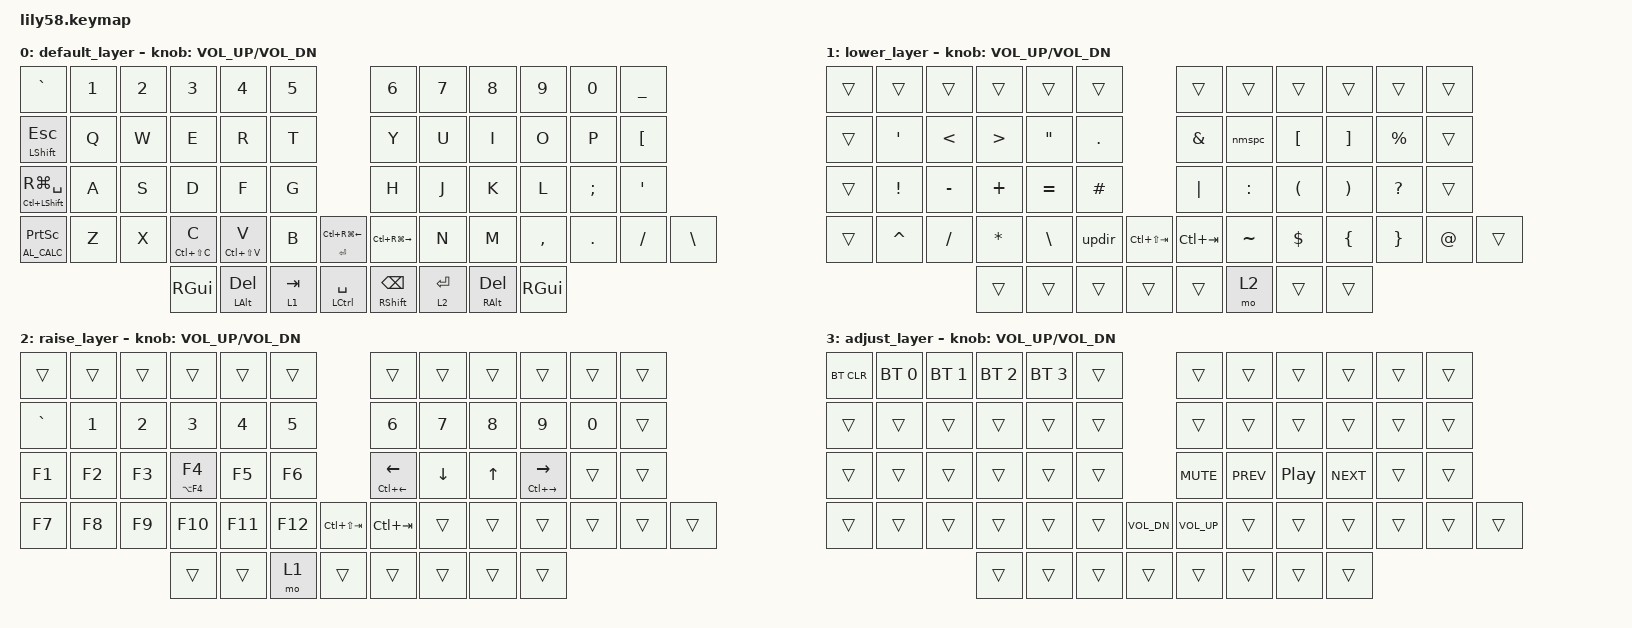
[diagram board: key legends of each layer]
/*
 * Copyright (c) 2020 The ZMK Contributors
 *
 * SPDX-License-Identifier: MIT
 */

#include <behaviors.dtsi>
#include <dt-bindings/zmk/keys.h>
#include <dt-bindings/zmk/bt.h>
#include <dt-bindings/zmk/ext_power.h>

&mt {
    quick-tap-ms = <400>;
};

/ {
    behaviors {
      tht: tap_pref_hold_tap {
        compatible = "zmk,behavior-hold-tap";
        label = "TAP_PREF_HOLD_TAP";
        #binding-cells = <2>;
	tapping-term-ms = <200>;
        quick-tap-ms = <400>;
        flavor = "tap-preferred";
        bindings = <&kp>, <&kp>;
      };
    };
    combos {
      compatible = "zmk,combos";
      combo_tab {
        timeout-ms = <50>;
	key-positions = <13 14>;
	bindings = <&kp TAB>;
      };
      combo_rbkt {
        timeout-ms = <50>;
	key-positions = <22 23>;
	bindings = <&kp RBKT>;
      };
    };

    macros {
        ZMK_MACRO(updir,
            wait-ms = <20>;
            tap-ms = <40>;
            bindings = <&kp DOT &kp DOT &kp FSLH>;
        )
        ZMK_MACRO(nmspc,
            wait-ms = <20>;
            tap-ms = <40>;
            bindings = <&kp COLON &kp COLON>;
        )
    };

    conditional_layers {
        compatible = "zmk,conditional-layers";
        tri_layer {
            if-layers = <1 2>;
            then-layer = <3>;
        };
    };

	keymap {
		compatible = "zmk,keymap";

		default_layer {
			bindings = <
&kp GRAVE &kp N1 &kp N2 &kp N3   &kp N4   &kp N5                     &kp N6 &kp N7   &kp N8    &kp N9  &kp N0   &kp UNDER
&mt LSHIFT ESC   &kp Q  &kp W  &kp E    &kp R    &kp T                      &kp Y  &kp U    &kp I     &kp O   &kp P    &kp LBKT
&mt LC(LSHIFT) RG(SPACE) &kp A  &kp S  &kp D    &kp F    &kp G                      &kp H  &kp J    &kp K     &kp L   &kp SEMI &kp SQT
&mt C_AL_CALC PSCRN &kp Z  &kp X  &tht LC(LS(C)) C    &tht LC(LS(V)) V    &kp B  &tht RET LC(RG(LEFT))   &kp LC(RG(RIGHT)) &kp N  &kp M    &kp COMMA &kp DOT &kp FSLH &kp BSLH
          &kp RGUI  &mt LALT DEL &lt 1 TAB  &mt LCTRL SPACE      &mt RSHIFT BSPC &lt 2 RET &mt RALT DEL &kp RGUI
			>;

			sensor-bindings = <&inc_dec_kp C_VOL_UP C_VOL_DN>;
		};

		lower_layer {
// ------------------------------------------------------------------------------------------------------------
// |       |     |     |      |      |      |                   |      |       |       |      |       |       |
// |       |  '  |  <  |  >   |  "   |  .   |                   |  &   |  ::   |  [    |  ]   |   %   |       |
// |       |  !  |  -  |  +   |  =   |  #   |                   |  |   |  :    |  (    |  )   |   ?   |       |
// |       |  ^  |  /  |  *   |  \   | ../  |C(S(TAB)|  |LC(TAB)|  ~   |  $    |  {    |  }   |   @   |       |
//                     |      |      |      |        |  |       |ADJUST|       |       |
			bindings = <
&trans     &trans           &trans            &trans            &trans       &trans                       &trans    &trans    &trans          &trans    &trans    &trans
&trans     &kp APOS         &kp LT            &kp GT            &kp DQT      &kp DOT                      &kp AMPS  &nmspc    &kp LBKT        &kp RBKT  &kp PRCNT &trans
&trans     &kp EXCL         &kp MINUS         &kp PLUS          &kp EQUAL    &kp HASH                     &kp PIPE  &kp COLON &kp LPAR        &kp RPAR  &kp QMARK &trans
&trans     &kp CARET        &kp FSLH          &kp STAR          &kp BSLH     &updir    &kp LC(LS(TAB))   &kp LC(TAB)    &kp TILDE &kp DLLR  &kp LBRC        &kp RBRC  &kp AT    &trans
                                              &trans            &trans       &trans    &trans   &trans    &mo 2    &trans    &trans
			>;

			sensor-bindings = <&inc_dec_kp C_VOL_UP C_VOL_DN>;
		};

		raise_layer {
// ------------------------------------------------------------------------------------------------------------
// |       |     |     |      |      |      |                   |      |       |       |      |       |       |
// |   `   |  1  |  2  |  3   |  4   |  5   |                   |  6   |   7   |   8   |  9   |   0   |       |
// |   F1  |  F2 |  F3 |  F4  |  F5  |  F6  |                   |  <-  |   ^   |  v    |  ->  |       |       |
// |   F7  |  F8 |  F9 |  F10 |  F11 |  F12 |C(S(TAB)|  |LC(TAB)|      |       |       |      |       |       |
//                     |      |      |ADJUST|        |  |       |      |       |       |
			bindings = <
&trans    &trans &trans &trans  &trans  &trans                       &trans      &trans    &trans    &trans   &trans    &trans
&kp GRAVE &kp N1 &kp N2 &kp N3  &kp N4  &kp N5                       &kp N6      &kp N7    &kp N8    &kp N9   &kp N0    &trans
&kp F1    &kp F2 &kp F3 &tht LA(F4) F4  &kp F5  &kp F6                       &mt LC(LEFT) LEFT    &kp DOWN  &kp UP    &mt LC(RIGHT) RIGHT &trans   &trans
&kp F7    &kp F8 &kp F9 &kp F10 &kp F11 &kp F12   &kp LC(LS(TAB))   &kp LC(TAB)    &trans      &trans    &trans    &trans  &trans  &trans
                        &trans  &trans  &mo 1    &trans   &trans    &trans      &trans    &trans
			>;

			sensor-bindings = <&inc_dec_kp C_VOL_UP C_VOL_DN>;
		};

		adjust_layer {
// ------------------------------------------------------------------------------------------------------------
// | BTCLR | BT1 | BT2 |  BT3 |  BT4 |      |                   |      |       |       |      |       |       |
// |       |     |     |      |      |      |                   |      |       |       |      |       |       |
// |       |     |     |      |      |      |                   | MUTE |  PREV | PAUSE | NEXT |       |       |
// |       |     |     |      |      |      |  VOL-  |  | VOL+  |      |       |       |      |       |       |
//                     |      |      |      |        |  |       |      |       |       |
			bindings = <
&bt BT_CLR &bt BT_SEL 0 &bt BT_SEL 1 &bt BT_SEL 2 &bt BT_SEL 3 &trans      &trans      &trans    &trans    &trans   &trans    &trans
&trans   &trans   &trans   &trans   &trans   &trans                  &trans   &trans   &trans   &trans   &trans   &trans
&trans   &trans   &trans   &trans   &trans   &trans                  &kp C_MUTE   &kp C_PREV   &kp C_PLAY_PAUSE &kp C_NEXT   &trans   &trans
&trans   &trans   &trans   &trans   &trans   &trans   &kp C_VOL_DN  &kp C_VOL_UP &trans   &trans   &trans   &trans   &trans   &trans
                        &trans  &trans  &trans   &trans     &trans   &trans   &trans   &trans
			>;

			sensor-bindings = <&inc_dec_kp C_VOL_UP C_VOL_DN>;
		};
	};
};
